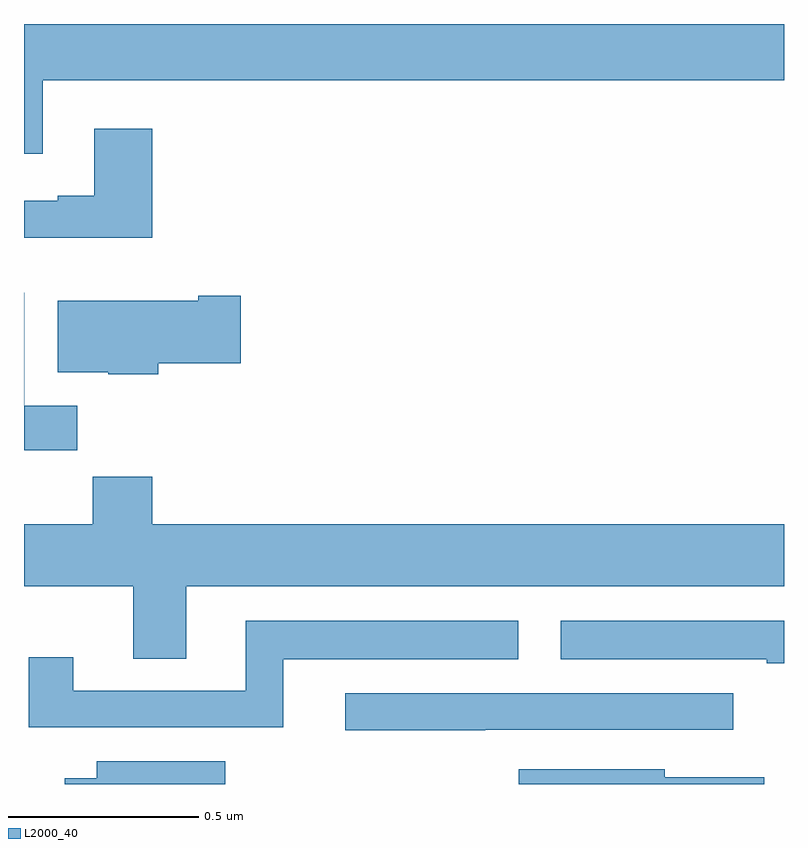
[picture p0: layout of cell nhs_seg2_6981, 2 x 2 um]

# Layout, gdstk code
import gdstk
lib = gdstk.Library(unit=1e-6, precision=1e-09)
def P(c, l, *ps):  # polygons
    for p in ps: c.add(gdstk.Polygon(p, *l))
L2000_40 = (2000, 40)

nhs_seg2_6981 = lib.new_cell('nhs_seg2_6981')
P(nhs_seg2_6981, L2000_40, [(198.049,631.652),(200,631.652),(200,631.8),(198,631.8),(198,631.458),(198.049,631.458)],
  [(198.338,631.525),(198.185,631.525),(198.185,631.348),(198.089,631.348),(198.089,631.335),(198,631.335),(198,631.238),(198.338,631.238)],
  [(198.14,630.796),(198.001,630.796),(198.001,631.093),(198,631.093),(198,630.678),(198.14,630.678)],
  [(198.353,630.907),(198.571,630.907),(198.571,631.085),(198.458,631.085),(198.458,631.072),(198.089,631.072),(198.089,630.884),(198.222,630.884),(198.222,630.878),(198.353,630.878)],
  [(198.427,630.32),(200,630.32),(200,630.484),(198.338,630.484),(198.338,630.608),(198.181,630.608),(198.181,630.484),(198,630.484),(198,630.32),(198.287,630.32),(198.287,630.13),(198.427,630.13)],
  [(200,630.229),(199.413,630.229),(199.413,630.128),(199.954,630.128),(199.954,630.118),(200,630.118)],
  [(198.682,630.128),(199.3,630.128),(199.3,630.229),(198.584,630.229),(198.584,630.045),(198.13,630.045),(198.13,630.133),(198.013,630.133),(198.013,629.949),(198.682,629.949)],
  [(199.214,629.943),(199.867,629.943),(199.867,630.039),(198.846,630.039),(198.846,629.942),(199.214,629.942)],
  [(198.529,629.86),(198.191,629.86),(198.191,629.815),(198.107,629.815),(198.107,629.8),(198.529,629.8)],
  [(199.948,629.818),(199.686,629.818),(199.686,629.839),(199.302,629.839),(199.302,629.8),(199.948,629.8)])

lib.write_gds('nhs_seg2_6981.gds')
